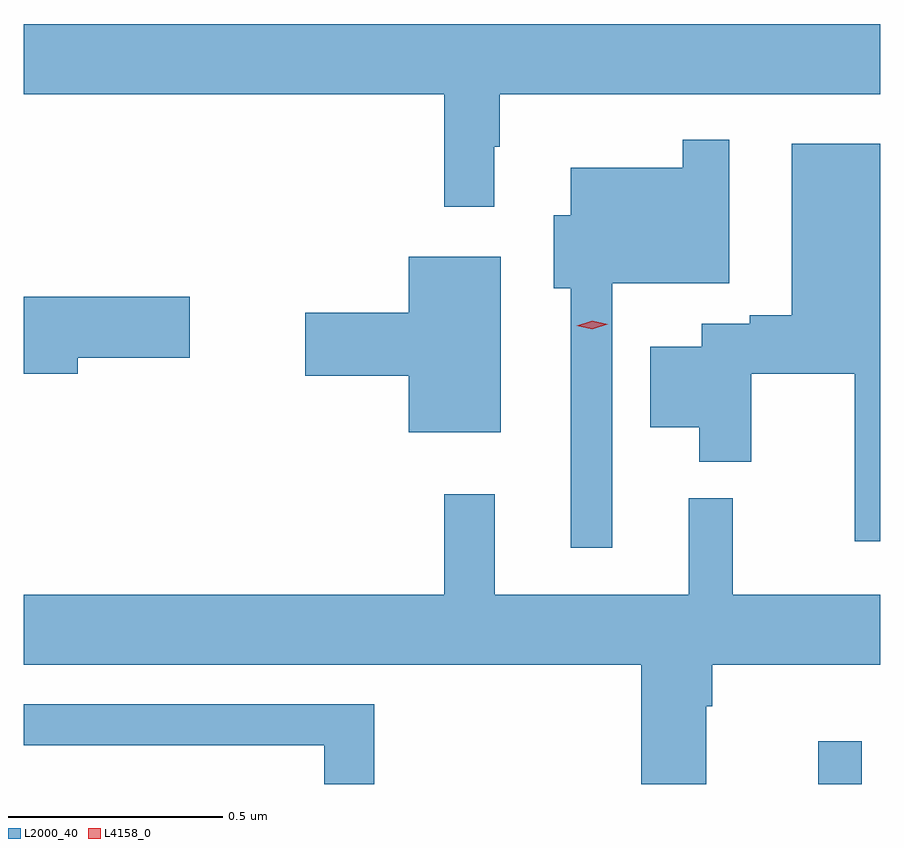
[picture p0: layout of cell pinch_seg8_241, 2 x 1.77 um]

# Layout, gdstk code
import gdstk
lib = gdstk.Library(unit=1e-6, precision=1e-09)
def R(c, l, rs):  # rectangles x0, y0, x1, y1
    for r in rs: c.add(gdstk.rectangle(r[:2], r[2:], *l))
def P(c, l, *ps):  # polygons
    for p in ps: c.add(gdstk.Polygon(p, *l))
L2000_40 = (2000, 40)
L4158_0 = (4158, 0)

pinch_seg8_241 = lib.new_cell('pinch_seg8_241')
R(pinch_seg8_241, L2000_40, [(626.296,1101.57,626.398,1101.67)])
P(pinch_seg8_241, L2000_40, [(625.54,1103.057),(625.552,1103.057),(625.552,1103.18),(626.441,1103.18),(626.441,1103.344),(624.441,1103.344),(624.441,1103.18),(625.423,1103.18),(625.423,1102.917),(625.54,1102.917)],
  [(625.815,1102.739),(626.088,1102.739),(626.088,1103.074),(625.98,1103.074),(625.98,1103.008),(625.718,1103.008),(625.718,1102.897),(625.679,1102.897),(625.679,1102.727),(625.718,1102.727),(625.718,1102.122),(625.815,1102.122)],
  [(626.441,1103.065),(626.234,1103.065),(626.234,1102.664),(626.136,1102.664),(626.136,1102.644),(626.024,1102.644),(626.024,1102.591),(625.904,1102.591),(625.904,1102.403),(626.018,1102.403),(626.018,1102.322),(626.14,1102.322),(626.14,1102.528),(626.381,1102.528),(626.381,1102.137),(626.441,1102.137)],
  [(625.555,1102.801),(625.34,1102.801),(625.34,1102.67),(625.098,1102.67),(625.098,1102.523),(625.34,1102.523),(625.34,1102.391),(625.555,1102.391)],
  [(624.568,1102.565),(624.829,1102.565),(624.829,1102.707),(624.441,1102.707),(624.441,1102.528),(624.568,1102.528)],
  [(626.035,1101.752),(626.048,1101.752),(626.048,1101.848),(626.441,1101.848),(626.441,1102.012),(626.096,1102.012),(626.096,1102.237),(625.994,1102.237),(625.994,1102.012),(625.541,1102.012),(625.541,1102.246),(625.423,1102.246),(625.423,1102.012),(624.441,1102.012),(624.441,1101.848),(625.883,1101.848),(625.883,1101.57),(626.035,1101.57)],
  [(625.259,1101.756),(624.441,1101.756),(624.441,1101.66),(625.143,1101.66),(625.143,1101.57),(625.259,1101.57)])
P(pinch_seg8_241, L4158_0, [(625.768,1102.632),(625.732,1102.64),(625.732,1102.64),(625.732,1102.64),(625.768,1102.651),(625.804,1102.643),(625.804,1102.643),(625.804,1102.643)])

lib.write_gds('pinch_seg8_241.gds')
